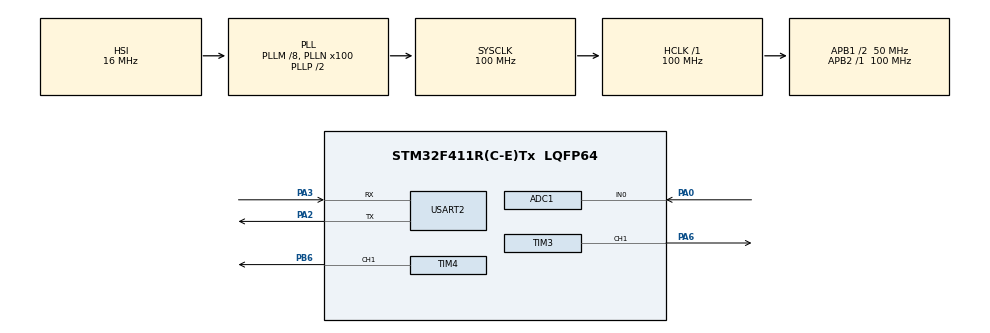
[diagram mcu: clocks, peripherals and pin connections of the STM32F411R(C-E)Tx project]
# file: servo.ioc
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ADC1.Channel-0\#ChannelRegularConversion=ADC_CHANNEL_0
ADC1.NbrOfConversionFlag=1
ADC1.Rank-0\#ChannelRegularConversion=1
ADC1.SamplingTime-0\#ChannelRegularConversion=ADC_SAMPLETIME_3CYCLES
ADC1.master=1
Mcu.Family=STM32F4
Mcu.Name=STM32F411R(C-E)Tx
Mcu.Package=LQFP64
NVIC.PriorityGroup=NVIC_PRIORITYGROUP_4
NVIC.USART2_IRQn=true\:0\:0\:false\:false\:true\:true\:true\:true
PA0-WKUP.Signal=ADCx_IN0
PA2.Mode=Asynchronous
PA2.Signal=USART2_TX
PA3.Mode=Asynchronous
PA3.Signal=USART2_RX
PA6.Signal=S_TIM3_CH1
PB6.Signal=S_TIM4_CH1
ProjectManager.HeapSize=0x200
ProjectManager.StackSize=0x400
ProjectManager.TargetToolchain=STM32CubeIDE
RCC.48MHZClocksFreq_Value=50000000
RCC.AHBFreq_Value=100000000
RCC.APB1CLKDivider=RCC_HCLK_DIV2
RCC.APB1Freq_Value=50000000
RCC.APB1TimFreq_Value=100000000
RCC.APB2Freq_Value=100000000
RCC.APB2TimFreq_Value=100000000
RCC.CortexFreq_Value=100000000
RCC.HCLKFreq_Value=100000000
RCC.HSE_VALUE=25000000
RCC.HSI_VALUE=16000000
RCC.LSE_VALUE=32768
RCC.PLLM=8
RCC.PLLN=100
RCC.SYSCLKFreq_VALUE=100000000
RCC.SYSCLKSource=RCC_SYSCLKSOURCE_PLLCLK
RCC.VCOOutputFreq_Value=200000000
SH.ADCx_IN0.0=ADC1_IN0,IN0
SH.S_TIM3_CH1.0=TIM3_CH1,PWM Generation1 CH1
SH.S_TIM4_CH1.0=TIM4_CH1,PWM Generation1 CH1
TIM3.Channel-PWM\ Generation1\ CH1=TIM_CHANNEL_1
TIM3.Period=20000-1
TIM3.Prescaler=100-1
TIM3.Pulse-PWM\ Generation1\ CH1=1500-1
TIM4.Channel-PWM\ Generation1\ CH1=TIM_CHANNEL_1
TIM4.Period=20000-1
TIM4.Prescaler=16-1
TIM4.Pulse-PWM\ Generation1\ CH1=1500-1
USART2.VirtualMode=VM_ASYNC
VP_TIM3_VS_ClockSourceINT.Mode=Internal
VP_TIM4_VS_ClockSourceINT.Mode=Internal
board=custom

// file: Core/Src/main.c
/* USER CODE BEGIN Header */
/**
 ******************************************************************************
 * @file           : main.c
 * @brief          : Main program body
 ******************************************************************************
 * @attention
 *
 * Copyright (c) 2024 STMicroelectronics.
 * All rights reserved.
 *
 * This software is licensed under terms that can be found in the LICENSE file
 * in the root directory of this software component.
 * If no LICENSE file comes with this software, it is provided AS-IS.
 *
 ******************************************************************************
 */
/* USER CODE END Header */
#include "main.h"

/* USER CODE BEGIN Includes */
#include "uart.h"
/* USER CODE END Includes */

ADC_HandleTypeDef hadc1;

TIM_HandleTypeDef htim3;
TIM_HandleTypeDef htim4;

UART_HandleTypeDef huart2;

void SystemClock_Config(void);
static void MX_GPIO_Init(void);
static void MX_TIM3_Init(void);
static void MX_ADC1_Init(void);
static void MX_USART2_UART_Init(void);
static void MX_TIM4_Init(void);

/* USER CODE BEGIN 0 */
long map(long x, long in_min, long in_max, long out_min, long out_max) {
  return (x - in_min) * (out_max - out_min) / (in_max - in_min) + out_min;
}
/* USER CODE END 0 */

int main(void)
{

  /* MCU Configuration--------------------------------------------------------*/

  /* Reset of all peripherals, Initializes the Flash interface and the Systick. */
  HAL_Init();

  /* Configure the system clock */
  SystemClock_Config();

  /* Initialize all configured peripherals */
  MX_GPIO_Init();
  MX_TIM3_Init();
  MX_ADC1_Init();
  MX_USART2_UART_Init();
  MX_TIM4_Init();
  /* USER CODE BEGIN 2 */
	HAL_TIM_PWM_Start(&htim3, TIM_CHANNEL_1);
	HAL_TIM_PWM_Start(&htim4, TIM_CHANNEL_1);
	initUART(&huart2);
  /* USER CODE END 2 */

  /* Infinite loop */
  /* USER CODE BEGIN WHILE */
	while (1) {
		/*for (int i = 600; i < 2400; i++) {
			htim3.Instance->CCR1 = i;
			HAL_Delay(10);
		}
		for (int i = 0; i < 1800; i++) {
			htim3.Instance->CCR1 = 2400-i;
			HAL_Delay(10);
		}*/
		/*
		HAL_ADC_Start(&hadc1); //conversion start
		HAL_ADC_PollForConversion(&hadc1, 10); //종료 ??�??
		uint16_t result = HAL_ADC_GetValue(&hadc1);
		HAL_ADC_Stop(&hadc1);
		uint16_t servoValue = map(result, 0, 4095, 600, 2400);
		htim3.Instance->CCR1 = servoValue;
		printf("%d\n", servoValue);*/

		uint16_t servovalue = 0;
		servovalue = 3000;
		htim4.Instance->CCR1 = servovalue;
		printf("%d\n", htim4.Instance->CCR1);
		HAL_Delay(1000);

		servovalue = 9000;
		htim4.Instance->CCR1 = servovalue;
		printf("%d\n", htim4.Instance->CCR1);
		HAL_Delay(1000);

    /* USER CODE END WHILE */

	}
}

void SystemClock_Config(void)
{
  RCC_OscInitTypeDef RCC_OscInitStruct = {0};
  RCC_ClkInitTypeDef RCC_ClkInitStruct = {0};

  /** Configure the main internal regulator output voltage
  */
  __HAL_RCC_PWR_CLK_ENABLE();
  __HAL_PWR_VOLTAGESCALING_CONFIG(PWR_REGULATOR_VOLTAGE_SCALE1);

  /** Initializes the RCC Oscillators according to the specified parameters
  * in the RCC_OscInitTypeDef structure.
  */
  RCC_OscInitStruct.OscillatorType = RCC_OSCILLATORTYPE_HSI;
  RCC_OscInitStruct.HSIState = RCC_HSI_ON;
  RCC_OscInitStruct.HSICalibrationValue = RCC_HSICALIBRATION_DEFAULT;
  RCC_OscInitStruct.PLL.PLLState = RCC_PLL_ON;
  RCC_OscInitStruct.PLL.PLLSource = RCC_PLLSOURCE_HSI;
  RCC_OscInitStruct.PLL.PLLM = 8;
  RCC_OscInitStruct.PLL.PLLN = 100;
  RCC_OscInitStruct.PLL.PLLP = RCC_PLLP_DIV2;
  RCC_OscInitStruct.PLL.PLLQ = 4;
  if (HAL_RCC_OscConfig(&RCC_OscInitStruct) != HAL_OK)
  {
    Error_Handler();
  }

  /** Initializes the CPU, AHB and APB buses clocks
  */
  RCC_ClkInitStruct.ClockType = RCC_CLOCKTYPE_HCLK|RCC_CLOCKTYPE_SYSCLK
                              |RCC_CLOCKTYPE_PCLK1|RCC_CLOCKTYPE_PCLK2;
  RCC_ClkInitStruct.SYSCLKSource = RCC_SYSCLKSOURCE_PLLCLK;
  RCC_ClkInitStruct.AHBCLKDivider = RCC_SYSCLK_DIV1;
  RCC_ClkInitStruct.APB1CLKDivider = RCC_HCLK_DIV2;
  RCC_ClkInitStruct.APB2CLKDivider = RCC_HCLK_DIV1;

  if (HAL_RCC_ClockConfig(&RCC_ClkInitStruct, FLASH_LATENCY_3) != HAL_OK)
  {
    Error_Handler();
  }
}

static void MX_ADC1_Init(void)
{

  ADC_ChannelConfTypeDef sConfig = {0};

  /** Configure the global features of the ADC (Clock, Resolution, Data Alignment and number of conversion)
  */
  hadc1.Instance = ADC1;
  hadc1.Init.ClockPrescaler = ADC_CLOCK_SYNC_PCLK_DIV4;
  hadc1.Init.Resolution = ADC_RESOLUTION_12B;
  hadc1.Init.ScanConvMode = DISABLE;
  hadc1.Init.ContinuousConvMode = DISABLE;
  hadc1.Init.DiscontinuousConvMode = DISABLE;
  hadc1.Init.ExternalTrigConvEdge = ADC_EXTERNALTRIGCONVEDGE_NONE;
  hadc1.Init.ExternalTrigConv = ADC_SOFTWARE_START;
  hadc1.Init.DataAlign = ADC_DATAALIGN_RIGHT;
  hadc1.Init.NbrOfConversion = 1;
  hadc1.Init.DMAContinuousRequests = DISABLE;
  hadc1.Init.EOCSelection = ADC_EOC_SINGLE_CONV;
  if (HAL_ADC_Init(&hadc1) != HAL_OK)
  {
    Error_Handler();
  }

  /** Configure for the selected ADC regular channel its corresponding rank in the sequencer and its sample time.
  */
  sConfig.Channel = ADC_CHANNEL_0;
  sConfig.Rank = 1;
  sConfig.SamplingTime = ADC_SAMPLETIME_3CYCLES;
  if (HAL_ADC_ConfigChannel(&hadc1, &sConfig) != HAL_OK)
  {
    Error_Handler();
  }

}

static void MX_TIM3_Init(void)
{

  TIM_ClockConfigTypeDef sClockSourceConfig = {0};
  TIM_MasterConfigTypeDef sMasterConfig = {0};
  TIM_OC_InitTypeDef sConfigOC = {0};

  htim3.Instance = TIM3;
  htim3.Init.Prescaler = 100-1;
  htim3.Init.CounterMode = TIM_COUNTERMODE_UP;
  htim3.Init.Period = 20000-1;
  htim3.Init.ClockDivision = TIM_CLOCKDIVISION_DIV1;
  htim3.Init.AutoReloadPreload = TIM_AUTORELOAD_PRELOAD_DISABLE;
  if (HAL_TIM_Base_Init(&htim3) != HAL_OK)
  {
    Error_Handler();
  }
  sClockSourceConfig.ClockSource = TIM_CLOCKSOURCE_INTERNAL;
  if (HAL_TIM_ConfigClockSource(&htim3, &sClockSourceConfig) != HAL_OK)
  {
    Error_Handler();
  }
  if (HAL_TIM_PWM_Init(&htim3) != HAL_OK)
  {
    Error_Handler();
  }
  sMasterConfig.MasterOutputTrigger = TIM_TRGO_RESET;
  sMasterConfig.MasterSlaveMode = TIM_MASTERSLAVEMODE_DISABLE;
  if (HAL_TIMEx_MasterConfigSynchronization(&htim3, &sMasterConfig) != HAL_OK)
  {
    Error_Handler();
  }
  sConfigOC.OCMode = TIM_OCMODE_PWM1;
  sConfigOC.Pulse = 1500-1;
  sConfigOC.OCPolarity = TIM_OCPOLARITY_HIGH;
  sConfigOC.OCFastMode = TIM_OCFAST_DISABLE;
  if (HAL_TIM_PWM_ConfigChannel(&htim3, &sConfigOC, TIM_CHANNEL_1) != HAL_OK)
  {
    Error_Handler();
  }
  HAL_TIM_MspPostInit(&htim3);

}

static void MX_TIM4_Init(void)
{

  TIM_ClockConfigTypeDef sClockSourceConfig = {0};
  TIM_MasterConfigTypeDef sMasterConfig = {0};
  TIM_OC_InitTypeDef sConfigOC = {0};

  htim4.Instance = TIM4;
  htim4.Init.Prescaler = 16-1;
  htim4.Init.CounterMode = TIM_COUNTERMODE_UP;
  htim4.Init.Period = 20000-1;
  htim4.Init.ClockDivision = TIM_CLOCKDIVISION_DIV1;
  htim4.Init.AutoReloadPreload = TIM_AUTORELOAD_PRELOAD_DISABLE;
  if (HAL_TIM_Base_Init(&htim4) != HAL_OK)
  {
    Error_Handler();
  }
  sClockSourceConfig.ClockSource = TIM_CLOCKSOURCE_INTERNAL;
  if (HAL_TIM_ConfigClockSource(&htim4, &sClockSourceConfig) != HAL_OK)
  {
    Error_Handler();
  }
  if (HAL_TIM_PWM_Init(&htim4) != HAL_OK)
  {
    Error_Handler();
  }
  sMasterConfig.MasterOutputTrigger = TIM_TRGO_RESET;
  sMasterConfig.MasterSlaveMode = TIM_MASTERSLAVEMODE_DISABLE;
  if (HAL_TIMEx_MasterConfigSynchronization(&htim4, &sMasterConfig) != HAL_OK)
  {
    Error_Handler();
  }
  sConfigOC.OCMode = TIM_OCMODE_PWM1;
  sConfigOC.Pulse = 1500-1;
  sConfigOC.OCPolarity = TIM_OCPOLARITY_HIGH;
  sConfigOC.OCFastMode = TIM_OCFAST_DISABLE;
  if (HAL_TIM_PWM_ConfigChannel(&htim4, &sConfigOC, TIM_CHANNEL_1) != HAL_OK)
  {
    Error_Handler();
  }
  HAL_TIM_MspPostInit(&htim4);

}

static void MX_USART2_UART_Init(void)
{

  huart2.Instance = USART2;
  huart2.Init.BaudRate = 115200;
  huart2.Init.WordLength = UART_WORDLENGTH_8B;
  huart2.Init.StopBits = UART_STOPBITS_1;
  huart2.Init.Parity = UART_PARITY_NONE;
  huart2.Init.Mode = UART_MODE_TX_RX;
  huart2.Init.HwFlowCtl = UART_HWCONTROL_NONE;
  huart2.Init.OverSampling = UART_OVERSAMPLING_16;
  if (HAL_UART_Init(&huart2) != HAL_OK)
  {
    Error_Handler();
  }

}

static void MX_GPIO_Init(void)
{

  /* GPIO Ports Clock Enable */
  __HAL_RCC_GPIOA_CLK_ENABLE();
  __HAL_RCC_GPIOB_CLK_ENABLE();

}

void Error_Handler(void)
{
	__disable_irq();
	while (1) {
	}
}
